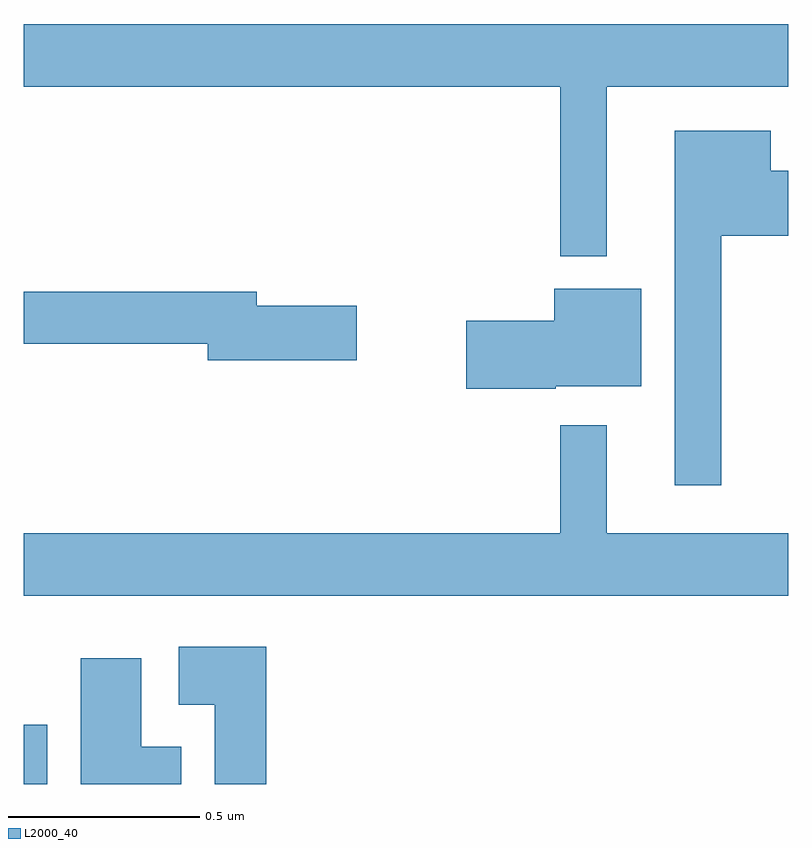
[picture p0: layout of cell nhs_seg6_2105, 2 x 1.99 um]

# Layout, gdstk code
import gdstk
lib = gdstk.Library(unit=1e-6, precision=1e-09)
def R(c, l, rs):  # rectangles x0, y0, x1, y1
    for r in rs: c.add(gdstk.rectangle(r[:2], r[2:], *l))
def P(c, l, *ps):  # polygons
    for p in ps: c.add(gdstk.Polygon(p, *l))
L2000_40 = (2000, 40)

nhs_seg6_2105 = lib.new_cell('nhs_seg6_2105')
R(nhs_seg6_2105, L2000_40, [(138,957.5,138.061,957.655)])
P(nhs_seg6_2105, L2000_40, [(139.525,959.324),(140,959.324),(140,959.488),(138,959.488),(138,959.324),(139.404,959.324),(139.404,958.88),(139.525,958.88)],
  [(139.825,958.934),(140,958.934),(140,959.104),(139.954,959.104),(139.954,959.209),(139.703,959.209),(139.703,958.281),(139.825,958.281)],
  [(139.392,958.541),(139.615,958.541),(139.615,958.795),(139.388,958.795),(139.388,958.712),(139.158,958.712),(139.158,958.534),(139.392,958.534)],
  [(138.871,958.751),(138.61,958.751),(138.61,958.787),(138,958.787),(138,958.651),(138.482,958.651),(138.482,958.609),(138.871,958.609)],
  [(140,958.156),(139.525,958.156),(139.525,958.438),(139.404,958.438),(139.404,958.156),(138,958.156),(138,957.992),(140,957.992)],
  [(138.635,957.859),(138.405,957.859),(138.405,957.707),(138.5,957.707),(138.5,957.5),(138.635,957.5)],
  [(138.412,957.598),(138.307,957.598),(138.307,957.829),(138.149,957.829),(138.149,957.5),(138.412,957.5)])

lib.write_gds('nhs_seg6_2105.gds')
